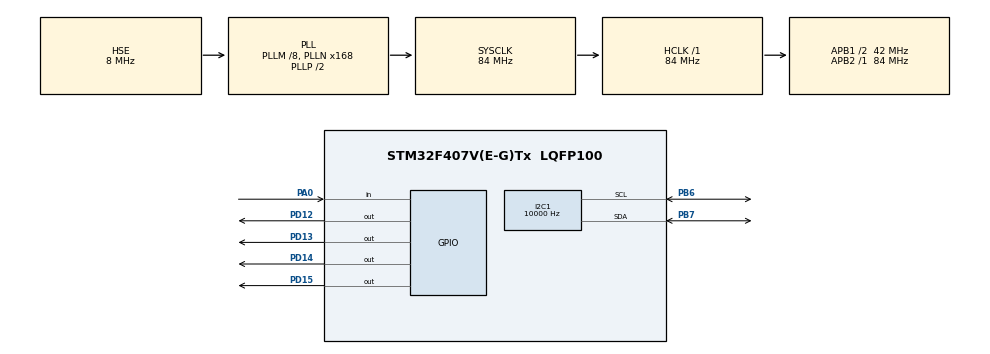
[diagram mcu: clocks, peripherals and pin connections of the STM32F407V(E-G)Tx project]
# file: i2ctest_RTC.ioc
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I2C1.ClockSpeed=10000
I2C1.I2C_Mode=I2C_Standard
Mcu.Family=STM32F4
Mcu.Name=STM32F407V(E-G)Tx
Mcu.Package=LQFP100
NVIC.PriorityGroup=NVIC_PRIORITYGROUP_4
PA0-WKUP.Signal=GPIO_Input
PA13.Mode=Serial_Wire
PA13.Signal=SYS_JTMS-SWDIO
PA14.Mode=Serial_Wire
PA14.Signal=SYS_JTCK-SWCLK
PB6.Mode=I2C
PB6.Signal=I2C1_SCL
PB7.Mode=I2C
PB7.Signal=I2C1_SDA
PC14-OSC32_IN.Mode=LSE-External-Oscillator
PC14-OSC32_IN.Signal=RCC_OSC32_IN
PC15-OSC32_OUT.Mode=LSE-External-Oscillator
PC15-OSC32_OUT.Signal=RCC_OSC32_OUT
PD12.GPIO_PuPd=GPIO_NOPULL
PD12.GPIO_Speed=GPIO_SPEED_FREQ_VERY_HIGH
PD12.PinState=GPIO_PIN_RESET
PD12.Signal=GPIO_Output
PD13.GPIO_Speed=GPIO_SPEED_FREQ_VERY_HIGH
PD13.Signal=GPIO_Output
PD14.GPIO_Speed=GPIO_SPEED_FREQ_VERY_HIGH
PD14.Signal=GPIO_Output
PD15.GPIO_Speed=GPIO_SPEED_FREQ_VERY_HIGH
PD15.Signal=GPIO_Output
PH0-OSC_IN.Mode=HSE-External-Clock-Source
PH0-OSC_IN.Signal=RCC_OSC_IN
PH1-OSC_OUT.Mode=HSE-External-Clock-Source
PH1-OSC_OUT.Signal=RCC_OSC_OUT
ProjectManager.HeapSize=0x200
ProjectManager.StackSize=0x400
ProjectManager.TargetToolchain=SW4STM32
RCC.48MHZClocksFreq_Value=42000000
RCC.AHBFreq_Value=84000000
RCC.APB1CLKDivider=RCC_HCLK_DIV2
RCC.APB1Freq_Value=42000000
RCC.APB1TimFreq_Value=84000000
RCC.APB2Freq_Value=84000000
RCC.APB2TimFreq_Value=84000000
RCC.CortexFreq_Value=84000000
RCC.HCLKFreq_Value=84000000
RCC.HSE_VALUE=8000000
RCC.HSI_VALUE=16000000
RCC.PLLM=8
RCC.PLLN=168
RCC.PLLSourceVirtual=RCC_PLLSOURCE_HSE
RCC.RCC_RTC_Clock_Source=RCC_RTCCLKSOURCE_LSI
RCC.RCC_RTC_Clock_SourceVirtual=RCC_RTCCLKSOURCE_LSE
RCC.SYSCLKFreq_VALUE=84000000
RCC.SYSCLKSource=RCC_SYSCLKSOURCE_PLLCLK
RCC.VCOOutputFreq_Value=168000000
RTC.Alarm=RTC_ALARM_A
RTC.Alarm_B=RTC_ALARM_B
RTC.Format=RTC_FORMAT_BCD
RTC.Hours=23
RTC.Minutes=59
RTC.Minutes_A=0
RTC.Seconds=59
RTC.Seconds_A=5
RTC.SubSeconds_A=0
RTC.Year=19
VP_RTC_VS_RTC_Activate.Mode=RTC_Enabled
VP_RTC_VS_RTC_Alarm_A_Intern.Mode=Alarm A
VP_RTC_VS_RTC_Alarm_B_Intern.Mode=Alarm B
VP_RTC_VS_RTC_Calendar.Mode=RTC_Calendar
board=custom

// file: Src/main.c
/* USER CODE BEGIN Header */
/**
 ******************************************************************************
 * @file           : main.c
 * @brief          : Main program body
 ******************************************************************************
 ** This notice applies to any and all portions of this file
 * that are not between comment pairs USER CODE BEGIN and
 * USER CODE END. Other portions of this file, whether
 * inserted by the user or by software development tools
 * are owned by their respective copyright owners.
 *
 * COPYRIGHT(c) 2019 STMicroelectronics
 *
 * Redistribution and use in source and binary forms, with or without modification,
 * are permitted provided that the following conditions are met:
 *   1. Redistributions of source code must retain the above copyright notice,
 *      this list of conditions and the following disclaimer.
 *   2. Redistributions in binary form must reproduce the above copyright notice,
 *      this list of conditions and the following disclaimer in the documentation
 *      and/or other materials provided with the distribution.
 *   3. Neither the name of STMicroelectronics nor the names of its contributors
 *      may be used to endorse or promote products derived from this software
 *      without specific prior written permission.
 *
 * THIS SOFTWARE IS PROVIDED BY THE COPYRIGHT HOLDERS AND CONTRIBUTORS "AS IS"
 * AND ANY EXPRESS OR IMPLIED WARRANTIES, INCLUDING, BUT NOT LIMITED TO, THE
 * IMPLIED WARRANTIES OF MERCHANTABILITY AND FITNESS FOR A PARTICULAR PURPOSE ARE
 * DISCLAIMED. IN NO EVENT SHALL THE COPYRIGHT HOLDER OR CONTRIBUTORS BE LIABLE
 * FOR ANY DIRECT, INDIRECT, INCIDENTAL, SPECIAL, EXEMPLARY, OR CONSEQUENTIAL
 * DAMAGES (INCLUDING, BUT NOT LIMITED TO, PROCUREMENT OF SUBSTITUTE GOODS OR
 * SERVICES; LOSS OF USE, DATA, OR PROFITS; OR BUSINESS INTERRUPTION) HOWEVER
 * CAUSED AND ON ANY THEORY OF LIABILITY, WHETHER IN CONTRACT, STRICT LIABILITY,
 * OR TORT (INCLUDING NEGLIGENCE OR OTHERWISE) ARISING IN ANY WAY OUT OF THE USE
 * OF THIS SOFTWARE, EVEN IF ADVISED OF THE POSSIBILITY OF SUCH DAMAGE.
 *
 ******************************************************************************
 */
/* USER CODE END Header */

#include "main.h"

/* USER CODE BEGIN Includes */
#include "ssd1306_tests.h"
#include "ssd1306.h"
#include "rtc_mon_1.h"
/* USER CODE END Includes */

I2C_HandleTypeDef hi2c1;

RTC_HandleTypeDef hrtc;

/* USER CODE BEGIN PV */
RTC_TimeTypeDef sTime;
RTC_DateTypeDef sDate;
static uint32_t State_counter;
uint32_t State_counter2;
static uint32_t State_counter3 =0;
/* USER CODE END PV */

void SystemClock_Config(void);
static void MX_GPIO_Init(void);
static void MX_I2C1_Init(void);
static void MX_RTC_Init(void);

/* USER CODE BEGIN 0 */
void init() {
	ssd1306_Init();
	ssd1306_Fill(White);
	// Flush buffer to screen
	ssd1306_UpdateScreen();
}
void func3()
{
	void (*jumpaddr)(GPIO_TypeDef *GPIOx , uint16_t GPIO_Pin)=&HAL_GPIO_TogglePin;//&HAL_GPIO_TogglePin
	jumpaddr(GPIOD, GPIO_PIN_12);
}
/* USER CODE END 0 */

int main(void)
{

  /* MCU Configuration--------------------------------------------------------*/

  /* Reset of all peripherals, Initializes the Flash interface and the Systick. */
  HAL_Init();

  /* Configure the system clock */
  SystemClock_Config();

  /* USER CODE BEGIN SysInit */
	__HAL_RCC_PWR_CLK_ENABLE();
	void HAL_PWR_EnableBkUpAccess();
	__HAL_RCC_RTC_CONFIG(RCC_RTCCLKSOURCE_LSI);
	__HAL_RCC_RTC_ENABLE();

  /* USER CODE END SysInit */

  /* Initialize all configured peripherals */
  MX_GPIO_Init();
  MX_I2C1_Init();
  MX_RTC_Init();
  /* USER CODE BEGIN 2 */
	init();

	func3();
  /* USER CODE END 2 */

  /* Infinite loop */
  /* USER CODE BEGIN WHILE */
	while (1)
	{
		//  HAL_PWR_EnterSTOPMode(PWR_LOWPOWERREGULATOR_ON,PWR_STOPENTRY_WFI);
		HAL_GPIO_TogglePin(GPIOD, GPIO_PIN_12);
		HAL_RTC_GetTime(&hrtc,&sTime,RTC_FORMAT_BIN);
		HAL_RTC_GetDate(&hrtc, &sDate, RTC_FORMAT_BIN);
		RTC_Mon(&sTime);

		HAL_Delay(100);
		//HAL_Delay(1000);
		State_counter2 = HAL_GPIO_ReadPin(GPIOA,GPIO_PIN_0);
		if(State_counter2==1)
		{
			State_counter++;

			if (State_counter >=30)
			{
				HAL_GPIO_WritePin(GPIOD, GPIO_PIN_12|GPIO_PIN_13|GPIO_PIN_14|GPIO_PIN_15, GPIO_PIN_SET);
				State_counter =0;
				while (1)
				{
					if (HAL_GPIO_ReadPin(GPIOA,GPIO_PIN_0)==1)
					{
						State_counter3++;
						if (State_counter3>20)
						{
							State_counter3=0;
							break;
						}
					}
				}
			}
			else
			{
				HAL_GPIO_WritePin(GPIOD, GPIO_PIN_12|GPIO_PIN_13|GPIO_PIN_14|GPIO_PIN_15, GPIO_PIN_RESET);
			}
		}
    /* USER CODE END WHILE */

	}
}

void SystemClock_Config(void)
{
  RCC_OscInitTypeDef RCC_OscInitStruct = {0};
  RCC_ClkInitTypeDef RCC_ClkInitStruct = {0};
  RCC_PeriphCLKInitTypeDef PeriphClkInitStruct = {0};

  /**Configure the main internal regulator output voltage
  */
  __HAL_RCC_PWR_CLK_ENABLE();
  __HAL_PWR_VOLTAGESCALING_CONFIG(PWR_REGULATOR_VOLTAGE_SCALE1);
  /**Initializes the CPU, AHB and APB busses clocks
  */
  RCC_OscInitStruct.OscillatorType = RCC_OSCILLATORTYPE_LSI|RCC_OSCILLATORTYPE_HSE;
  RCC_OscInitStruct.HSEState = RCC_HSE_BYPASS;
  RCC_OscInitStruct.LSIState = RCC_LSI_ON;
  RCC_OscInitStruct.PLL.PLLState = RCC_PLL_ON;
  RCC_OscInitStruct.PLL.PLLSource = RCC_PLLSOURCE_HSE;
  RCC_OscInitStruct.PLL.PLLM = 8;
  RCC_OscInitStruct.PLL.PLLN = 168;
  RCC_OscInitStruct.PLL.PLLP = RCC_PLLP_DIV2;
  RCC_OscInitStruct.PLL.PLLQ = 4;
  if (HAL_RCC_OscConfig(&RCC_OscInitStruct) != HAL_OK)
  {
    Error_Handler();
  }
  /**Initializes the CPU, AHB and APB busses clocks
  */
  RCC_ClkInitStruct.ClockType = RCC_CLOCKTYPE_HCLK|RCC_CLOCKTYPE_SYSCLK
                              |RCC_CLOCKTYPE_PCLK1|RCC_CLOCKTYPE_PCLK2;
  RCC_ClkInitStruct.SYSCLKSource = RCC_SYSCLKSOURCE_PLLCLK;
  RCC_ClkInitStruct.AHBCLKDivider = RCC_SYSCLK_DIV1;
  RCC_ClkInitStruct.APB1CLKDivider = RCC_HCLK_DIV2;
  RCC_ClkInitStruct.APB2CLKDivider = RCC_HCLK_DIV1;

  if (HAL_RCC_ClockConfig(&RCC_ClkInitStruct, FLASH_LATENCY_2) != HAL_OK)
  {
    Error_Handler();
  }
  PeriphClkInitStruct.PeriphClockSelection = RCC_PERIPHCLK_RTC;
  PeriphClkInitStruct.RTCClockSelection = RCC_RTCCLKSOURCE_LSI;
  if (HAL_RCCEx_PeriphCLKConfig(&PeriphClkInitStruct) != HAL_OK)
  {
    Error_Handler();
  }
}

static void MX_I2C1_Init(void)
{

  hi2c1.Instance = I2C1;
  hi2c1.Init.ClockSpeed = 10000;
  hi2c1.Init.DutyCycle = I2C_DUTYCYCLE_2;
  hi2c1.Init.OwnAddress1 = 0;
  hi2c1.Init.AddressingMode = I2C_ADDRESSINGMODE_7BIT;
  hi2c1.Init.DualAddressMode = I2C_DUALADDRESS_DISABLE;
  hi2c1.Init.OwnAddress2 = 0;
  hi2c1.Init.GeneralCallMode = I2C_GENERALCALL_DISABLE;
  hi2c1.Init.NoStretchMode = I2C_NOSTRETCH_DISABLE;
  if (HAL_I2C_Init(&hi2c1) != HAL_OK)
  {
    Error_Handler();
  }

}

static void MX_RTC_Init(void)
{

  RTC_TimeTypeDef sTime = {0};
  RTC_DateTypeDef sDate = {0};
  RTC_AlarmTypeDef sAlarm = {0};

  /**Initialize RTC Only
  */
  hrtc.Instance = RTC;
  hrtc.Init.HourFormat = RTC_HOURFORMAT_24;
  hrtc.Init.AsynchPrediv = 127;
  hrtc.Init.SynchPrediv = 255;
  hrtc.Init.OutPut = RTC_OUTPUT_DISABLE;
  hrtc.Init.OutPutPolarity = RTC_OUTPUT_POLARITY_HIGH;
  hrtc.Init.OutPutType = RTC_OUTPUT_TYPE_OPENDRAIN;
  if (HAL_RTC_Init(&hrtc) != HAL_OK)
  {
    Error_Handler();
  }

  /**Initialize RTC and set the Time and Date
  */
  sTime.Hours = 0x23;
  sTime.Minutes = 0x59;
  sTime.Seconds = 0x59;
  sTime.DayLightSaving = RTC_DAYLIGHTSAVING_NONE;
  sTime.StoreOperation = RTC_STOREOPERATION_RESET;
  if (HAL_RTC_SetTime(&hrtc, &sTime, RTC_FORMAT_BCD) != HAL_OK)
  {
    Error_Handler();
  }
  sDate.WeekDay = RTC_WEEKDAY_MONDAY;
  sDate.Month = RTC_MONTH_JANUARY;
  sDate.Date = 0x1;
  sDate.Year = 0x19;

  if (HAL_RTC_SetDate(&hrtc, &sDate, RTC_FORMAT_BCD) != HAL_OK)
  {
    Error_Handler();
  }
  /**Enable the Alarm A
  */
  sAlarm.AlarmTime.Hours = 0x0;
  sAlarm.AlarmTime.Minutes = 0x0;
  sAlarm.AlarmTime.Seconds = 0x5;
  sAlarm.AlarmTime.SubSeconds = 0x0;
  sAlarm.AlarmTime.DayLightSaving = RTC_DAYLIGHTSAVING_NONE;
  sAlarm.AlarmTime.StoreOperation = RTC_STOREOPERATION_RESET;
  sAlarm.AlarmMask = RTC_ALARMMASK_NONE;
  sAlarm.AlarmSubSecondMask = RTC_ALARMSUBSECONDMASK_ALL;
  sAlarm.AlarmDateWeekDaySel = RTC_ALARMDATEWEEKDAYSEL_DATE;
  sAlarm.AlarmDateWeekDay = 0x1;
  sAlarm.Alarm = RTC_ALARM_A;
  if (HAL_RTC_SetAlarm(&hrtc, &sAlarm, RTC_FORMAT_BCD) != HAL_OK)
  {
    Error_Handler();
  }
  /**Enable the Alarm B
  */
  sAlarm.AlarmTime.Seconds = 0x0;
  sAlarm.AlarmDateWeekDay = 0x1;
  sAlarm.Alarm = RTC_ALARM_B;
  if (HAL_RTC_SetAlarm(&hrtc, &sAlarm, RTC_FORMAT_BCD) != HAL_OK)
  {
    Error_Handler();
  }

}

static void MX_GPIO_Init(void)
{
  GPIO_InitTypeDef GPIO_InitStruct = {0};

  /* GPIO Ports Clock Enable */
  __HAL_RCC_GPIOC_CLK_ENABLE();
  __HAL_RCC_GPIOH_CLK_ENABLE();
  __HAL_RCC_GPIOA_CLK_ENABLE();
  __HAL_RCC_GPIOD_CLK_ENABLE();
  __HAL_RCC_GPIOB_CLK_ENABLE();

  /*Configure GPIO pin Output Level */
  HAL_GPIO_WritePin(GPIOD, GPIO_PIN_12|GPIO_PIN_13|GPIO_PIN_14|GPIO_PIN_15, GPIO_PIN_RESET);

  /*Configure GPIO pin : PA0 */
  GPIO_InitStruct.Pin = GPIO_PIN_0;
  GPIO_InitStruct.Mode = GPIO_MODE_INPUT;
  GPIO_InitStruct.Pull = GPIO_NOPULL;
  HAL_GPIO_Init(GPIOA, &GPIO_InitStruct);

  /*Configure GPIO pins : PD12 PD13 PD14 PD15 */
  GPIO_InitStruct.Pin = GPIO_PIN_12|GPIO_PIN_13|GPIO_PIN_14|GPIO_PIN_15;
  GPIO_InitStruct.Mode = GPIO_MODE_OUTPUT_PP;
  GPIO_InitStruct.Pull = GPIO_NOPULL;
  GPIO_InitStruct.Speed = GPIO_SPEED_FREQ_VERY_HIGH;
  HAL_GPIO_Init(GPIOD, &GPIO_InitStruct);

}

/* USER CODE BEGIN 4 */

void HAL_GPIO_EXTI_Callback(uint16_t GPIO_Pin)
{

}

/* USER CODE END 4 */

void Error_Handler(void)
{
}

/************************ (C) COPYRIGHT STMicroelectronics *****END OF FILE****/
